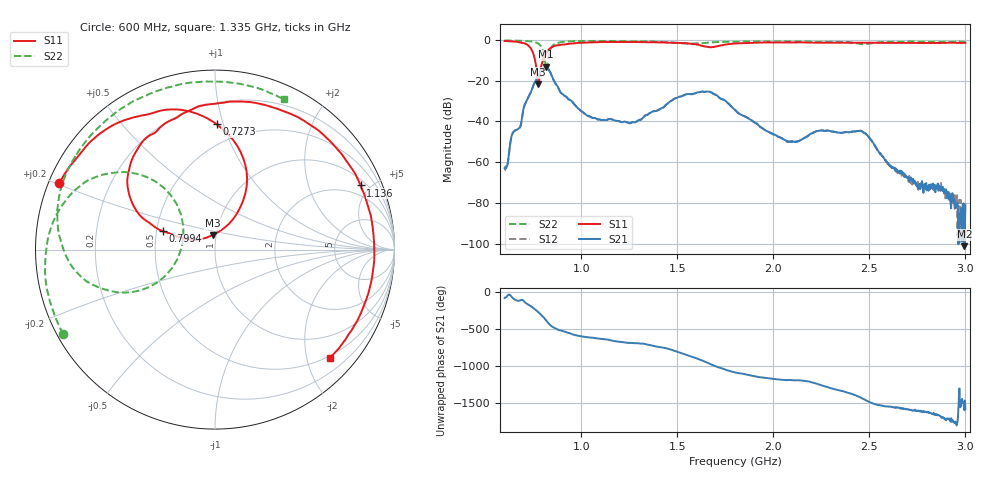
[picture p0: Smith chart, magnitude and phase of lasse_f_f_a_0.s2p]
#  HZ  S  RI  R  50.00
! Rohde & Schwarz ZVB8 2Ports - Version 2.81 - 1145.1010k08 SN: 100113
! Date: 2016-05-04 02:50:02
! Measurements: S11 S21 S12 S22
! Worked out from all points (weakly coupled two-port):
!   1000 points, 600 MHz to 3 GHz, reference 50 ohm
!   highest |S21| = -13.19 dB at 816.2 MHz (marker M1); lowest = -101.2 dB at 2.995 GHz (marker M2)
!   lowest |S11| = -21.8 dB at 775.4 MHz (marker M3), VSWR 1.18, Z = 48 + j7.78 ohm
!   |S11| at or under -10 dB: 758.5 MHz to 800.1 MHz (41.64 MHz wide, 5.34 % of centre)
!   |S22| runs from -14.5 to -0.3 dB; largest |S21 - S12| = 0.0025
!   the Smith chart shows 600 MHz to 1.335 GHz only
!   S11 on the Smith chart (normalised r, x): 600 MHz: 0.03, +0.20; 727.3 MHz: 0.35, +0.95; 799.4 MHz: 0.54, +0.12; 1.136 GHz: 1.31, +4.38; 1.335 GHz: 0.46, -2.45
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6e8  -0.8668 0.37  6.57e-05 -0.00071  5.95e-05 -0.000631  -0.8463 -0.471
6.408408e8  -0.7168 0.5768  0.000888 -0.00493  0.000883 -0.00493  -0.9119 -0.3124
6.768769e8  -0.485 0.7272  -0.00352 -0.00588  -0.00353 -0.00593  -0.9444 -0.1602
7.273273e8  0.00903 0.6987  -0.0425 0.000907  -0.0425 -1.31e-05  -0.9237 0.0902
7.753754e8  -0.0136 0.0805  0.0099 0.1292  0.00887 0.1301  -0.7213 0.3782
7.993994e8  -0.2916 0.1023  0.1769 0.0831  0.1757 0.084  -0.3764 0.4027
8.162162e8  -0.4233 0.1962  0.1969 -0.0958  0.1964 -0.0958  -0.1763 0.0693
8.402402e8  -0.485 0.4172  -0.013 -0.1504  -0.0126 -0.1499  -0.5537 -0.2366
8.762763e8  -0.3428 0.6458  -0.0618 -0.0376  -0.0613 -0.0374  -0.8458 0.00533
1.001201e9  0.2771 0.8063  -0.00858 0.0153  -0.00873 0.0153  -0.7374 0.5804
1.135736e9  0.8114 0.3575  0.00266 0.0107  0.00262 0.0107  -0.34 0.8774
1.335135e9  0.6415 -0.6017  0.0138 0.00307  0.0138 0.0031  0.3852 0.8385
1.4e9  0.3794 -0.7816  0.0178 -0.00697  0.0178 -0.00692  0.5875 0.6891
1.657057e9  -0.4868 -0.4647  -0.0308 0.0447  -0.031 0.0445  0.8543 -0.0499
1.801201e9  -0.7772 -0.2529  0.0188 -0.00238  0.0187 -0.00229  0.716 -0.5567
2.077477e9  -0.4792 0.7222  -0.000967 -0.00305  -0.00105 -0.00301  -0.1178 -0.9058
2.2e9  0.00102 0.8558  -0.00395 -0.00328  -0.00387 -0.00333  -0.4628 -0.7841
2.459459e9  0.8181 0.2334  0.00572 0.000752  0.0057 0.000844  -0.7493 -0.2334
2.601201e9  0.7608 -0.3727  -0.000262 -0.000811  -0.000218 -0.000833  -0.897 -0.0328
2.793393e9  0.1539 -0.8266  -0.000223 -8.74e-06  -0.000237 -2.09e-05  -0.8068 0.4098
2.995195e9  -0.5439 -0.6485  -7.89e-06 -3.58e-06  -5.64e-05 -2.81e-05  -0.5046 0.7429
3e9  -0.5557 -0.6374  -6.24e-05 -5.81e-05  -3.84e-05 -0.000108  -0.4936 0.7507
